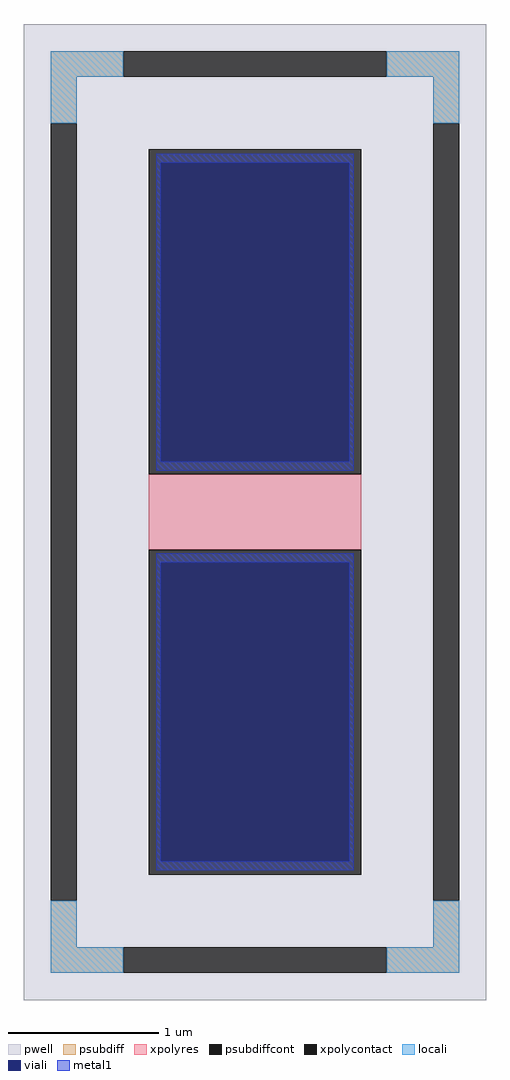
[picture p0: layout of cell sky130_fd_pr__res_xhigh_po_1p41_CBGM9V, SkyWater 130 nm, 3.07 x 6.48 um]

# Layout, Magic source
magic
tech sky130A
magscale 1 2
<< pwell >>
rect -307 -648 307 648
<< psubdiff >>
rect -271 578 -175 612
rect 175 578 271 612
rect -271 516 -237 578
rect 237 516 271 578
rect -271 -578 -237 -516
rect 237 -578 271 -516
rect -271 -612 -175 -578
rect 175 -612 271 -578
<< psubdiffcont >>
rect -175 578 175 612
rect -271 -516 -237 516
rect 237 -516 271 516
rect -175 -612 175 -578
<< xpolycontact >>
rect -141 50 141 482
rect -141 -482 141 -50
<< xpolyres >>
rect -141 -50 141 50
<< locali >>
rect -271 578 -175 612
rect 175 578 271 612
rect -271 516 -237 578
rect 237 516 271 578
rect -271 -578 -237 -516
rect 237 -578 271 -516
rect -271 -612 -175 -578
rect 175 -612 271 -578
<< viali >>
rect -125 67 125 464
rect -125 -464 125 -67
<< metal1 >>
rect -131 464 131 476
rect -131 67 -125 464
rect 125 67 131 464
rect -131 55 131 67
rect -131 -67 131 -55
rect -131 -464 -125 -67
rect 125 -464 131 -67
rect -131 -476 131 -464
<< properties >>
string FIXED_BBOX -254 -595 254 595
string gencell sky130_fd_pr__res_xhigh_po_1p41
string library sky130
string parameters w 1.410 l 0.656 m 1 nx 1 wmin 1.410 lmin 0.50 rho 2000 val 1.197k dummy 0 dw 0.0 term 188.2 sterm 0.0 caplen 0 wmax 1.410 guard 1 glc 1 grc 1 gtc 1 gbc 1 compatible {sky130_fd_pr__res_xhigh_po_0p35  sky130_fd_pr__res_xhigh_po_0p69 sky130_fd_pr__res_xhigh_po_1p41  sky130_fd_pr__res_xhigh_po_2p85 sky130_fd_pr__res_xhigh_po_5p73} snake 0 full_metal 1 n_guard 0 hv_guard 0 vias 1 viagb 0 viagt 0 viagl 0 viagr 0
<< end >>
